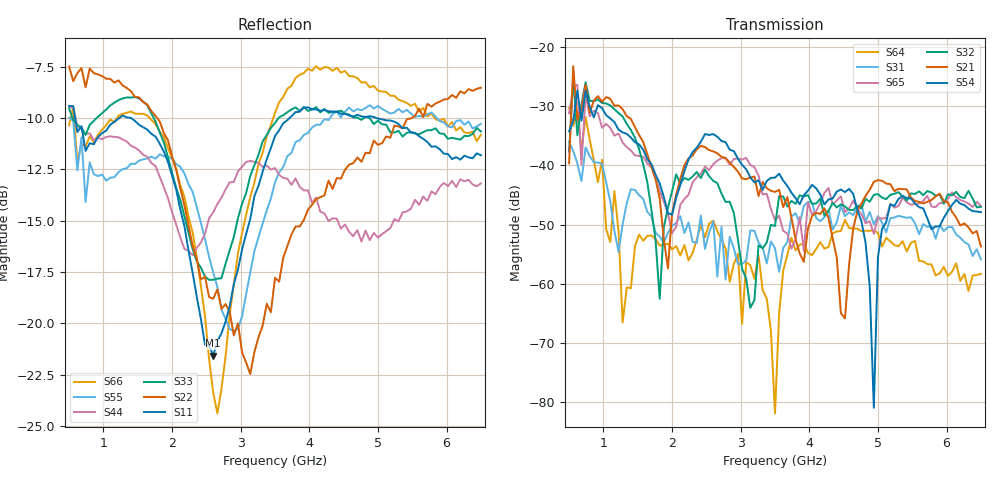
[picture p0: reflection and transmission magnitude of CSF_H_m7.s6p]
!Keysight Technologies,M9804A,MY58100912,A.14.10.03
!Date: Thursday, April 27, 2023 10:28:33
!Correction: S11(C  6-Port  )
!S12(C  6-Port  )
!S13(C  6-Port  )
!S14(C  6-Port  )
!S15(C  6-Port  )
!S16(C  6-Port  )
!S21(C  6-Port  )
!S22(C  6-Port  )
!S23(C  6-Port  )
!S24(C  6-Port  )
!S25(C  6-Port  )
!S26(C  6-Port  )
!S31(C  6-Port  )
!S32(C  6-Port  )
!S33(C  6-Port  )
!S34(C  6-Port  )
!S35(C  6-Port  )
!S36(C  6-Port  )
!S41(C  6-Port  )
!S42(C  6-Port  )
!S43(C  6-Port  )
!S44(C  6-Port  )
!S45(C  6-Port  )
!S46(C  6-Port  )
!S51(C  6-Port  )
!S52(C  6-Port  )
!S53(C  6-Port  )
!S54(C  6-Port  )
!S55(C  6-Port  )
!S56(C  6-Port  )
!S61(C  6-Port  )
!S62(C  6-Port  )
!S63(C  6-Port  )
!S64(C  6-Port  )
!S65(C  6-Port  )
!S66(C  6-Port  )
!S6P File: Measurement: :
# Hz S  RI  R 50
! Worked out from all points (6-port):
!   101 points, 500 MHz to 6.5 GHz, reference 50 ohm
!   strongest paths, dB at 500 MHz, 2 GHz, 3.5 GHz, 5 GHz, 6.5 GHz:
!     S54: -34.2, -48.3, -42.1, -55.5, -47.9
!     S21: -39.6, -48.2, -44.5, -42.5, -53.7
!     S32: -37.7, -44.4, -50.2, -44.8, -47.0
!     S65: -31.2, -51.4, -49.2, -48.8, -46.8
!     S31: -36.1, -50.2, -54.0, -48.5, -55.8
!     S64: -30.3, -54.1, -81.8, -51.4, -58.3
!   lowest |S11| = -21.6 dB at 2.6 GHz (marker M1), VSWR 1.18, Z = 42.6 + j2.04 ohm
!   |S11| at or under -10 dB: 587.3 MHz to 1.234 GHz (647 MHz wide, 71 % of centre); 1.395 GHz to 3.715 GHz (2.319 GHz wide, 90.8 % of centre); 4.974 GHz to end of sweep
